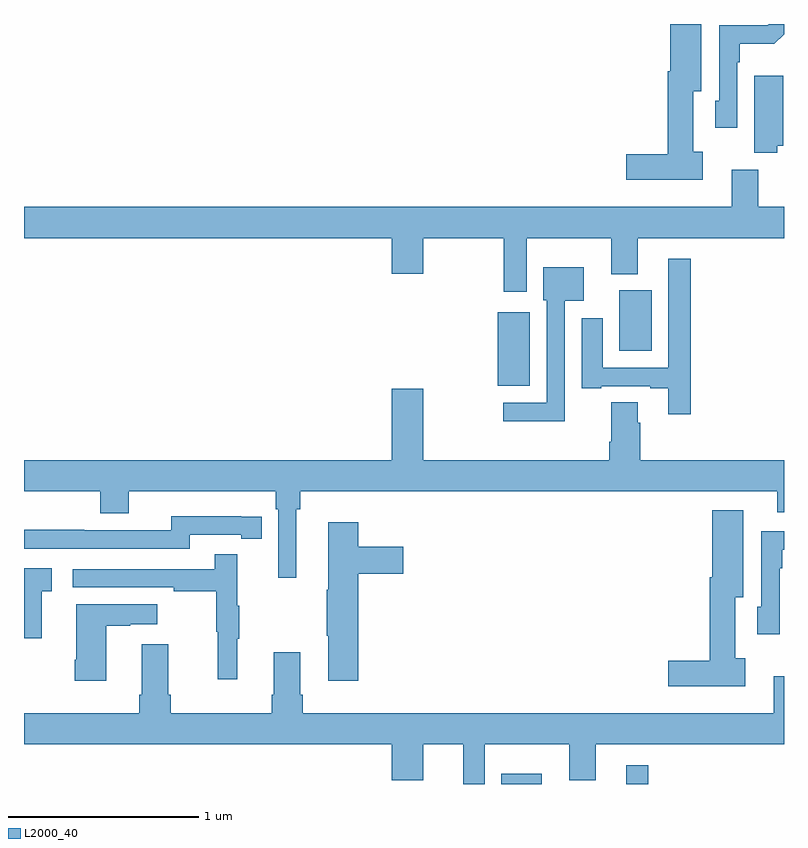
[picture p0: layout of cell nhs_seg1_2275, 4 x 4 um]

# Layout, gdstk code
import gdstk
lib = gdstk.Library(unit=1e-6, precision=1e-09)
def R(c, l, rs):  # rectangles x0, y0, x1, y1
    for r in rs: c.add(gdstk.rectangle(r[:2], r[2:], *l))
def P(c, l, *ps):  # polygons
    for p in ps: c.add(gdstk.Polygon(p, *l))
L2000_40 = (2000, 40)

nhs_seg1_2275 = lib.new_cell('nhs_seg1_2275')
R(nhs_seg1_2275, L2000_40, [(237.512,542.199,237.724,542.254), (238.17,542.199,238.286,542.299), (237.494,544.295,237.661,544.681), (238.133,544.478,238.303,544.798)])
P(nhs_seg1_2275, L2000_40, [(238.755,545.999),(238.768,545.999),(238.768,546.095),(238.949,546.095),(239,546.146),(239,546.199),(238.921,546.199),(238.914,546.192),(238.659,546.192),(238.659,545.796),(238.638,545.796),(238.638,545.652),(238.755,545.652)],
  [(238.573,545.526),(238.522,545.526),(238.522,545.846),(238.564,545.846),(238.564,546.199),(238.4,546.199),(238.4,545.95),(238.388,545.95),(238.388,545.513),(238.17,545.513),(238.17,545.378),(238.573,545.378)],
  [(238.964,545.558),(238.996,545.558),(238.996,545.926),(238.844,545.926),(238.844,545.521),(238.964,545.521)],
  [(237.646,545.072),(238.091,545.072),(238.091,544.883),(238.231,544.883),(238.231,545.072),(239,545.072),(239,545.236),(238.864,545.236),(238.864,545.431),(238.724,545.431),(238.724,545.236),(235,545.236),(235,545.072),(236.936,545.072),(236.936,544.884),(237.1,544.884),(237.1,545.072),(237.526,545.072),(237.526,544.791),(237.646,544.791)],
  [(238.508,544.963),(238.392,544.963),(238.392,544.389),(238.045,544.389),(238.045,544.651),(237.935,544.651),(237.935,544.281),(238.039,544.281),(238.039,544.293),(238.295,544.293),(238.295,544.281),(238.391,544.281),(238.391,544.146),(238.508,544.146)],
  [(237.846,544.742),(237.946,544.742),(237.946,544.918),(237.734,544.918),(237.734,544.746),(237.75,544.746),(237.75,544.206),(237.522,544.206),(237.522,544.109),(237.846,544.109)],
  [(236.434,543.644),(236.453,543.644),(236.453,543.74),(238.964,543.74),(238.964,543.63),(239,543.63),(239,543.904),(238.244,543.904),(238.244,544.1),(238.231,544.1),(238.231,544.208),(238.091,544.208),(238.091,544),(238.079,544),(238.079,543.904),(237.1,543.904),(237.1,544.279),(236.936,544.279),(236.936,543.904),(235,543.904),(235,543.74),(235.4,543.74),(235.4,543.623),(235.552,543.623),(235.552,543.74),(236.324,543.74),(236.324,543.644),(236.337,543.644),(236.337,543.285),(236.434,543.285)],
  [(238.795,542.862),(238.744,542.862),(238.744,543.182),(238.786,543.182),(238.786,543.64),(238.622,543.64),(238.622,543.286),(238.61,543.286),(238.61,542.849),(238.392,542.849),(238.392,542.714),(238.795,542.714)],
  [(235.872,543.51),(236.144,543.51),(236.144,543.49),(236.252,543.49),(236.252,543.606),(236.144,543.606),(236.144,543.607),(235.776,543.607),(235.776,543.534),(235.316,543.534),(235.316,543.536),(235,543.536),(235,543.438),(235.872,543.438)],
  [(236.759,543.305),(236.995,543.305),(236.995,543.447),(236.759,543.447),(236.759,543.577),(236.6,543.577),(236.6,543.221),(236.593,543.221),(236.593,542.98),(236.6,542.98),(236.6,542.742),(236.759,542.742)],
  [(238.977,543.335),(238.99,543.335),(238.99,543.431),(239,543.431),(239,543.528),(238.881,543.528),(238.881,543.132),(238.86,543.132),(238.86,542.988),(238.977,542.988)],
  [(236.123,542.963),(236.134,542.963),(236.134,543.137),(236.123,543.137),(236.123,543.409),(236.005,543.409),(236.005,543.33),(235.257,543.33),(235.257,543.234),(235.789,543.234),(235.789,543.214),(236.013,543.214),(236.013,543),(236.02,543),(236.02,542.751),(236.123,542.751)],
  [(235.094,543.213),(235.147,543.213),(235.147,543.334),(235,543.334),(235,542.967),(235.094,542.967)],
  [(235.432,543.031),(235.559,543.031),(235.559,543.041),(235.702,543.041),(235.702,543.145),(235.274,543.145),(235.274,542.854),(235.267,542.854),(235.267,542.742),(235.432,542.742)],
  [(237.424,542.408),(237.869,542.408),(237.869,542.219),(238.009,542.219),(238.009,542.408),(239,542.408),(239,542.767),(238.946,542.767),(238.946,542.572),(236.468,542.572),(236.468,542.668),(236.455,542.668),(236.455,542.893),(236.315,542.893),(236.315,542.668),(236.303,542.668),(236.303,542.572),(235.772,542.572),(235.772,542.668),(235.759,542.668),(235.759,542.935),(235.619,542.935),(235.619,542.668),(235.607,542.668),(235.607,542.572),(235,542.572),(235,542.408),(236.936,542.408),(236.936,542.22),(237.1,542.22),(237.1,542.408),(237.311,542.408),(237.311,542.199),(237.424,542.199)])

lib.write_gds('nhs_seg1_2275.gds')
